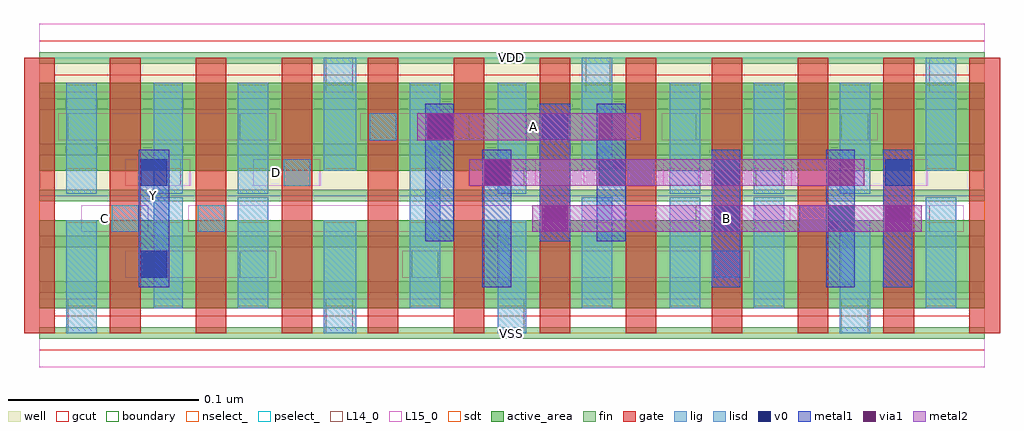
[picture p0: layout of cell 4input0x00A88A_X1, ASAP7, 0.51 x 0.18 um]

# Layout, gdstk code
import gdstk
lib = gdstk.Library(unit=1e-6, precision=1e-09)
def R(c, l, rs):  # rectangles x0, y0, x1, y1
    for r in rs: c.add(gdstk.rectangle(r[:2], r[2:], *l))
def A(c, l, x, y, w, h, nx, ny, dx, dy):  # array of equal rectangles
    R(c, l, [(x+i*dx, y+j*dy, x+i*dx+w, y+j*dy+h) for i in range(nx) for j in range(ny)])
def P(c, l, *ps):  # polygons
    for p in ps: c.add(gdstk.Polygon(p, *l))
well = (1, 0)
fin = (2, 0)
gate = (7, 0)
gcut = (10, 0)
active_area = (11, 0)
nselect_ = (12, 0)
pselect_ = (13, 0)
L14_0 = (14, 0)
L15_0 = (15, 0)
lig = (16, 0)
lisd = (17, 0)
v0 = (18, 0)
metal1 = (19, 0)
metal2 = (20, 0)
via1 = (21, 0)
sdt = (88, 0)
boundary = (100, 0)

c_4input0x00a88a_x1 = lib.new_cell('4input0x00A88A_X1')
R(c_4input0x00a88a_x1, well, [(0,0.072,0.495,0.144)])
A(c_4input0x00a88a_x1, fin, 0, -0.003, 0.495, 0.006, 1, 7, 0, 0.024)
A(c_4input0x00a88a_x1, gate, -0.008, 0, 0.016, 0.144, 12, 1, 0.045, 0)
P(c_4input0x00a88a_x1, gcut, [(0,-0.009),(0,0),(-0.008,0),(-0.008,0.135),(0.008,0.135),(0.008,0.009),(0.217,0.009),(0.217,0.135),(0.233,0.135),(0.233,0.009),(0.487,0.009),(0.487,0.135),(-0.008,0.135),(-0.008,0.144),(0,0.144),(0,0.153),(0.495,0.153),(0.495,0.144),(0.503,0.144),(0.503,0),(0.495,0),(0.495,-0.009)])
R(c_4input0x00a88a_x1, active_area, [(0,0.013,0.495,0.059), (0,0.085,0.495,0.131)])
R(c_4input0x00a88a_x1, nselect_, [(0,0,0.495,0.072)])
R(c_4input0x00a88a_x1, pselect_, [(0,0.072,0.495,0.144)])
A(c_4input0x00a88a_x1, L14_0, 0.33, 0.053, 0.014, 0.014, 3, 1, 0.068, 0)
R(c_4input0x00a88a_x1, L14_0, [(0.015,0,0.03,0.018), (0.15,0,0.164,0.018), (0.24,0,0.254,0.018), (0.42,0,0.434,0.018), (0.105,0.029,0.12,0.043), (0.195,0.029,0.209,0.043), (0.353,0.029,0.367,0.043), (0.038,0.053,0.052,0.067), (0.083,0.053,0.097,0.067), (0.06,0.077,0.074,0.091), (0.128,0.077,0.142,0.091), (0.24,0.077,0.254,0.091), (0.308,0.077,0.322,0.091), (0.375,0.077,0.389,0.091), (0.443,0.077,0.457,0.091), (0.015,0.101,0.03,0.115), (0.105,0.101,0.12,0.115), (0.173,0.101,0.187,0.115), (0.263,0.101,0.277,0.115), (0.33,0.101,0.344,0.115), (0.42,0.101,0.434,0.115), (0.15,0.126,0.164,0.144), (0.286,0.126,0.299,0.144), (0.466,0.126,0.48,0.144)])
R(c_4input0x00a88a_x1, L15_0, [(0,-0.018,0.495,0.018), (0.045,0.029,0.124,0.043), (0.19,0.029,0.372,0.043), (0.022,0.053,0.057,0.067), (0.078,0.053,0.375,0.067), (0.393,0.053,0.484,0.067), (0.045,0.077,0.079,0.091), (0.112,0.077,0.147,0.091), (0.225,0.077,0.26,0.091), (0.285,0.077,0.327,0.091), (0.345,0.077,0.394,0.091), (0.427,0.077,0.465,0.091), (0.01,0.101,0.124,0.115), (0.168,0.101,0.225,0.115), (0.255,0.101,0.292,0.115), (0.326,0.101,0.439,0.115), (0,0.126,0.495,0.162)])
R(c_4input0x00a88a_x1, lig, [(0.353,0.029,0.367,0.043), (0.038,0.053,0.052,0.067), (0.083,0.053,0.097,0.067), (0.398,0.053,0.412,0.067), (0.128,0.077,0.142,0.091), (0.308,0.077,0.322,0.091), (0.443,0.077,0.457,0.091), (0.173,0.101,0.187,0.115), (0.263,0.101,0.277,0.115)])
R(c_4input0x00a88a_x1, lisd, [(0.014,0,0.03,0.059), (0.149,0,0.166,0.059), (0.24,0,0.255,0.059), (0.419,0,0.435,0.059), (0.06,0.013,0.075,0.071), (0.104,0.013,0.12,0.071), (0.194,0.013,0.21,0.131), (0.284,0.013,0.3,0.071), (0.33,0.013,0.346,0.071), (0.374,0.013,0.39,0.071), (0.464,0.013,0.48,0.071), (0.014,0.073,0.03,0.131), (0.06,0.073,0.075,0.131), (0.104,0.073,0.12,0.131), (0.24,0.073,0.255,0.131), (0.33,0.073,0.346,0.131), (0.374,0.073,0.39,0.131), (0.419,0.073,0.435,0.131), (0.149,0.085,0.166,0.144), (0.284,0.085,0.3,0.144), (0.464,0.085,0.48,0.144)])
A(c_4input0x00a88a_x1, v0, 0.233, 0.077, 0.014, 0.014, 3, 1, 0.06, 0)
R(c_4input0x00a88a_x1, v0, [(0.053,0.029,0.067,0.043), (0.353,0.053,0.367,0.067), (0.413,0.053,0.427,0.067), (0.053,0.077,0.067,0.091), (0.443,0.077,0.457,0.091), (0.203,0.101,0.217,0.115), (0.263,0.101,0.277,0.115)])
R(c_4input0x00a88a_x1, metal1, [(0.052,0.024,0.068,0.096), (0.232,0.024,0.247,0.096), (0.352,0.024,0.367,0.096), (0.412,0.024,0.427,0.096), (0.442,0.024,0.457,0.096), (0.202,0.048,0.217,0.12), (0.262,0.048,0.278,0.12), (0.292,0.048,0.307,0.12)])
R(c_4input0x00a88a_x1, metal2, [(0.258,0.053,0.462,0.067), (0.225,0.077,0.432,0.091), (0.198,0.101,0.315,0.115)])
R(c_4input0x00a88a_x1, via1, [(0.263,0.053,0.277,0.067), (0.443,0.053,0.457,0.067), (0.233,0.077,0.247,0.091), (0.413,0.077,0.427,0.091), (0.203,0.101,0.217,0.115), (0.293,0.101,0.307,0.115)])
A(c_4input0x00a88a_x1, sdt, 0.014, 0.014, 0.016, 0.044, 4, 2, 0.09, 0.072)
A(c_4input0x00a88a_x1, sdt, 0.374, 0.014, 0.016, 0.044, 3, 2, 0.045, 0.072)
R(c_4input0x00a88a_x1, sdt, [(0.06,0.014,0.075,0.058), (0.149,0.014,0.166,0.058), (0.24,0.014,0.255,0.058), (0.33,0.014,0.346,0.058), (0.06,0.086,0.075,0.13), (0.149,0.086,0.166,0.13), (0.24,0.086,0.255,0.13), (0.33,0.086,0.346,0.13)])
R(c_4input0x00a88a_x1, boundary, [(0,0,0.495,0.144)])
c_4input0x00a88a_x1.add(gdstk.Label('VSS', (0.247,0), layer=15, texttype=251))
c_4input0x00a88a_x1.add(gdstk.Label('VDD', (0.247,0.144), layer=15, texttype=251))
c_4input0x00a88a_x1.add(gdstk.Label('VSS', (0.247,0), layer=15, texttype=251))
c_4input0x00a88a_x1.add(gdstk.Label('VDD', (0.247,0.144), layer=15, texttype=251))
c_4input0x00a88a_x1.add(gdstk.Label('C', (0.034,0.06), layer=15, texttype=251))
c_4input0x00a88a_x1.add(gdstk.Label('VSS', (0.247,0), layer=15, texttype=251))
c_4input0x00a88a_x1.add(gdstk.Label('VDD', (0.247,0.144), layer=15, texttype=251))
c_4input0x00a88a_x1.add(gdstk.Label('D', (0.124,0.084), layer=15, texttype=251))
c_4input0x00a88a_x1.add(gdstk.Label('VSS', (0.247,0), layer=15, texttype=251))
c_4input0x00a88a_x1.add(gdstk.Label('VDD', (0.247,0.144), layer=15, texttype=251))
c_4input0x00a88a_x1.add(gdstk.Label('VSS', (0.247,0), layer=15, texttype=251))
c_4input0x00a88a_x1.add(gdstk.Label('VDD', (0.247,0.144), layer=15, texttype=251))
c_4input0x00a88a_x1.add(gdstk.Label('A', (0.259,0.108), layer=20, texttype=251))
c_4input0x00a88a_x1.add(gdstk.Label('B', (0.36,0.06), layer=20, texttype=251))
c_4input0x00a88a_x1.add(gdstk.Label('VSS', (0.247,0), layer=3, texttype=251))
c_4input0x00a88a_x1.add(gdstk.Label('VSS', (0.247,0), layer=3, texttype=251))
c_4input0x00a88a_x1.add(gdstk.Label('VSS', (0.247,0), layer=3, texttype=251))
c_4input0x00a88a_x1.add(gdstk.Label('VSS', (0.247,0), layer=3, texttype=251))
c_4input0x00a88a_x1.add(gdstk.Label('VSS', (0.247,0), layer=3, texttype=251))
c_4input0x00a88a_x1.add(gdstk.Label('VDD', (0.247,0.144), layer=1, texttype=251))
c_4input0x00a88a_x1.add(gdstk.Label('VDD', (0.247,0.144), layer=1, texttype=251))
c_4input0x00a88a_x1.add(gdstk.Label('VDD', (0.247,0.144), layer=1, texttype=251))
c_4input0x00a88a_x1.add(gdstk.Label('VDD', (0.247,0.144), layer=1, texttype=251))
c_4input0x00a88a_x1.add(gdstk.Label('VDD', (0.247,0.144), layer=1, texttype=251))
c_4input0x00a88a_x1.add(gdstk.Label('Y', (0.06,0.072), layer=19, texttype=251))

lib.write_gds('4input0x00A88A_X1.gds')
